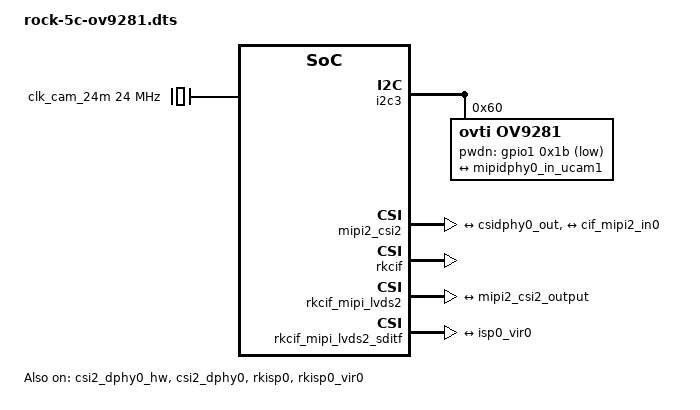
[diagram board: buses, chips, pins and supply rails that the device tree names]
// SPDX-License-Identifier: (GPL-2.0+ OR MIT)
//
// Device-tree overlay: OmniVision OV9281 (1 MP mono global-shutter, RAW10) on
// the Radxa ROCK 5C (RK3588S2) MIPI-CSI connector.
//
// PROVENANCE — this is the rk2410 image's own OKDO-5MP/OV5647 camera overlay
// (`/boot/dtbo/rock-5a-okdo-5mp-camera.dtbo`, whose metadata explicitly lists
// `radxa,rock-5c`), reproduced fragment-for-fragment, with ONLY the sensor node
// swapped to the OV9281. The OV9281 is a 2-lane MIPI sensor exactly like the
// OV5647, so the dphy → csi2 → rkcif → isp wiring is identical and unchanged.
//
// Why not the earlier hand-built version: it carried two properties the OV9281
// driver rejects, which made the chip detect over I2C but never register its
// v4l2 subdev (so rkcif reported "get remote terminal sensor failed -19"):
//   * link-frequencies on the sensor endpoint — the out-of-tree ov9281 driver
//     validates this against its own table and aborts subdev registration if it
//     doesn't match. The reference omits it; so do we (driver uses its default).
//   * pinctrl-0 on the sensor node — caused "could not get default pinstate".
// Confirmed on-target facts baked in: I2C bus i2c3, pwdn GPIO1_D3 (0x1b)
// active-low, clock-names "xvclk" (the ov9281 driver requested this and bound).
//
// CLOCK FREQUENCY: the OKDO module declared 25 MHz; OV9281 nominal is 24 MHz and
// the module supplies its own oscillator (the sensor was detected over I2C with
// the fixed-clock at 24 MHz, so the value only informs the driver's timing math).
// If streaming framerate/exposure looks wrong, try 25000000 here.
//
// BUILD + INSTALL (on the board):
//   cd ~/quadguide && git pull
//   dtc -@ -I dts -O dtb -o /tmp/rock-5c-ov9281.dtbo overlays/rock-5c-ov9281.dts
//   sudo cp /tmp/rock-5c-ov9281.dtbo /boot/dtbo/rock-5c-ov9281.dtbo
//   sudo reboot          # (overlay already enabled in /boot/uEnv.txt)
// VERIFY after reboot:
//   media-ctl -d /dev/media0 -p | grep -i ov9281     # sensor now an ENTITY = fixed
//   the capture node is /dev/video0 (stream_cif_mipi_id0), mono Y10/GREY.

/dts-v1/;
/plugin/;

/ {
	metadata {
		title = "Enable OV9281 mono camera (ROCK 5C)";
		compatible = "radxa,rock-5a", "radxa,rock-5c";
		category = "camera";
		exclusive = "csi2_dphy0";
		description = "Enable OV9281 1MP mono global-shutter camera.";
	};

	fragment@0 {
		target-path = "/";
		__overlay__ {
			clk_cam_24m: external-camera-clock-24m {
				status = "okay";
				compatible = "fixed-clock";
				clock-frequency = <24000000>;
				clock-output-names = "clk_cam_24m";
				#clock-cells = <0>;
			};
		};
	};

	fragment@1 {
		target = <&i2c3>;
		__overlay__ {
			status = "okay";
			#address-cells = <1>;
			#size-cells = <0>;

			ov9281: ov9281@60 {
				status = "okay";
				compatible = "ovti,ov9281";
				reg = <0x60>;
				clocks = <&clk_cam_24m>;
				clock-names = "xvclk";
				pwdn-gpios = <&gpio1 0x1b 1>;
				rockchip,camera-module-index = <0>;
				rockchip,camera-module-facing = "back";
				rockchip,camera-module-name = "ov9281";
				rockchip,camera-module-lens-name = "default";

				port {
					ov9281_out: endpoint {
						remote-endpoint = <&mipidphy0_in_ucam1>;
						data-lanes = <1 2>;
					};
				};
			};
		};
	};

	fragment@2 {
		target = <&csi2_dphy0_hw>;
		__overlay__ { status = "okay"; };
	};

	fragment@3 {
		target = <&csi2_dphy0>;
		__overlay__ {
			status = "okay";
			ports {
				#address-cells = <1>;
				#size-cells = <0>;
				port@0 {
					reg = <0>;
					#address-cells = <1>;
					#size-cells = <0>;
					mipidphy0_in_ucam1: endpoint@2 {
						reg = <2>;
						remote-endpoint = <&ov9281_out>;
						data-lanes = <1 2>;
					};
				};
				port@1 {
					reg = <1>;
					#address-cells = <1>;
					#size-cells = <0>;
					csidphy0_out: endpoint@0 {
						reg = <0>;
						remote-endpoint = <&mipi2_csi2_input>;
					};
				};
			};
		};
	};

	fragment@4 {
		target = <&mipi2_csi2>;
		__overlay__ {
			status = "okay";
			ports {
				#address-cells = <1>;
				#size-cells = <0>;
				port@0 {
					reg = <0>;
					#address-cells = <1>;
					#size-cells = <0>;
					mipi2_csi2_input: endpoint@1 {
						reg = <1>;
						remote-endpoint = <&csidphy0_out>;
					};
				};
				port@1 {
					reg = <1>;
					#address-cells = <1>;
					#size-cells = <0>;
					mipi2_csi2_output: endpoint@0 {
						reg = <0>;
						remote-endpoint = <&cif_mipi2_in0>;
					};
				};
			};
		};
	};

	fragment@5 {
		target = <&rkcif>;
		__overlay__ { status = "okay"; };
	};

	fragment@6 {
		target = <&rkcif_mipi_lvds2>;
		__overlay__ {
			status = "okay";
			port {
				cif_mipi2_in0: endpoint {
					remote-endpoint = <&mipi2_csi2_output>;
				};
			};
		};
	};

	fragment@7 {
		target = <&rkcif_mipi_lvds2_sditf>;
		__overlay__ {
			status = "okay";
			port {
				mipi_lvds2_sditf: endpoint {
					remote-endpoint = <&isp0_vir0>;
				};
			};
		};
	};

	fragment@8 {
		target = <&rkcif_mmu>;
		__overlay__ { status = "okay"; };
	};

	fragment@9 {
		target = <&isp0_mmu>;
		__overlay__ { status = "okay"; };
	};

	fragment@10 {
		target = <&rkisp0>;
		__overlay__ { status = "okay"; };
	};

	fragment@11 {
		target = <&rkisp0_vir0>;
		__overlay__ {
			status = "okay";
			port {
				#address-cells = <1>;
				#size-cells = <0>;
				isp0_vir0: endpoint@0 {
					reg = <0>;
					remote-endpoint = <&mipi_lvds2_sditf>;
				};
			};
		};
	};

	fragment@12 {
		target = <&pinctrl>;
		__overlay__ {
			camera {
				cam_pwdn_gpio: cam-pwdn-gpio {
					rockchip,pins = <1 0x1b 0 &pcfg_pull_up>;
				};
			};
		};
	};
};
